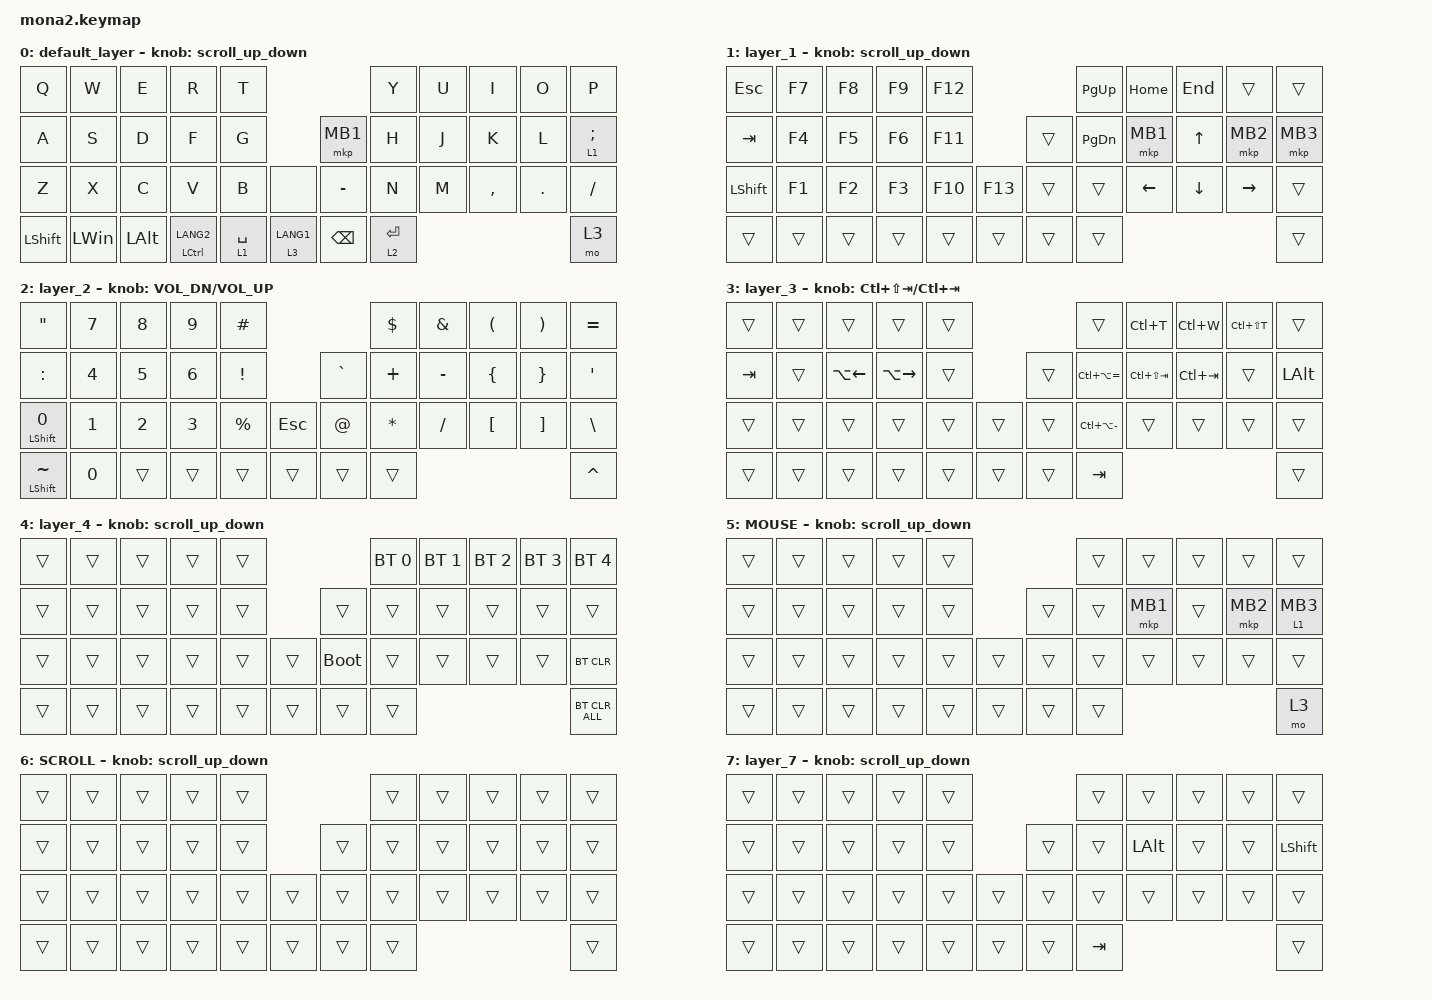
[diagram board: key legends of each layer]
#include <input/processors.dtsi>
#include <dt-bindings/zmk/input_transform.h>
#include <zephyr/dt-bindings/input/input-event-codes.h>
#include <behaviors.dtsi>
#include <dt-bindings/zmk/bt.h>
#include <dt-bindings/zmk/keys.h>
#include <dt-bindings/zmk/pointing.h>

#define ZMK_POINTING_DEFAULT_SCRL_VAL 200
#define MOUSE 5
#define SCROLL 6

&mt {
    flavor = "balanced";
    quick-tap-ms = <0>;
};

&lt {
    quick-tap-ms = <300>;
    flavor = "balanced";
};

&zip_temp_layer {
    require-prior-idle-ms = <200>;
    excluded-positions = <15 17 19 20 41>;
};

/ {
    combos {
        compatible = "zmk,combos";

        layer4_ESC {
            bindings = <&lt 4 ESC>;
            key-positions = <39 38>;
        };

        tab {
            bindings = <&kp TAB>;
            key-positions = <11 12>;
        };

        layer7_hold {
            bindings = <&mo 7>;
            key-positions = <18 19>;
        };
    };

    macros {
        to_layer_0: to_layer_0 {
            compatible = "zmk,behavior-macro-one-param";
            #binding-cells = <1>;
            bindings = <&to 0 &macro_param_1to1 &kp MACRO_PLACEHOLDER>;
            label = "TO_LAYER_0";
        };
    };

    behaviors {
        lt_to_layer_0: lt_to_layer_0 {
            compatible = "zmk,behavior-hold-tap";
            label = "LAYER_TAP_TO_0";
            bindings = <&mo>, <&to_layer_0>;

            #binding-cells = <2>;
            tapping-term-ms = <200>;
        };

        lt_mkp: lt_mkp {
            compatible = "zmk,behavior-hold-tap";
            label = "LAYER_TAP_MKP";
            bindings = <&mo>, <&mkp>;

            #binding-cells = <2>;
            tapping-term-ms = <200>;
            flavor = "balanced";
        };

        scroll_up_down: mouse_wheel_up_down {
            compatible = "zmk,behavior-sensor-rotate";
            #sensor-binding-cells = <0>;
            bindings = <&msc SCRL_DOWN>, <&msc SCRL_UP>;

            // overlay側で &msc の trigger-period-ms を 8ms に上書きしているので、
            // tap-ms=10ms の間に「ちょうど1回だけ」スクロールイベントが発火する。
            // ZMKの内部数式は「移動量 = speed × trigger_period / 1000」(units/tick)で、
            // floor後にHIDイベント発火するので SCRL_VAL × 8 / 1000 ≥ 1 が必要。
            // SCRL_VAL=200 で 1.6 → 1ホイールユニット/tick(= OS設定の3行スクロール相当)
            //   t=0    press
            //   t=8ms  scroll event発火 (move=1.6 → floor=1)
            //   t=10ms release (次のt=16msは来ない)
            // 上流sayu-hubの 100×16/1000=1.6 と同一の効果。linger=10ms、固着は
            // 検出間隔<10msの物理的に不可能な高速回転でしか起きない。
            tap-ms = <10>;
        };

        scroll_right_left: mouse_wheel_right_left {
            compatible = "zmk,behavior-sensor-rotate";
            #sensor-binding-cells = <0>;
            bindings = <&msc SCRL_LEFT>, <&msc SCRL_RIGHT>;

            tap-ms = <10>;
        };

    };

    keymap {
        compatible = "zmk,keymap";

        default_layer {
            bindings = <
&kp Q           &kp W         &kp E         &kp R            &kp T                                                              &kp Y          &kp U      &kp I      &kp O    &kp P
&kp A           &kp S         &kp D         &kp F            &kp G                                     &mkp MB1                  &kp H          &kp J      &kp K      &kp L    &lt 1 SEMICOLON
&kp Z             &kp X       &kp C         &kp V            &kp B          &none                      &kp MINUS                 &kp N          &kp M      &kp COMMA  &kp DOT  &kp SLASH
&kp LEFT_SHIFT  &kp LEFT_WIN  &kp LEFT_ALT  &mt LCTRL LANG2  &lt 1 SPACE    &lt_to_layer_0 3 LANG1     &kp BACKSPACE             &lt 2 ENTER                                   &mo 3
            >;

            sensor-bindings = <&scroll_up_down>;
        };

        layer_1 {
            bindings = <
&kp ESC  &kp F7  &kp F8  &kp F9  &kp F12                                    &kp PG_UP      &kp HOME   &kp END       &trans       &trans
&kp TAB  &kp F4  &kp F5  &kp F6  &kp F11                    &trans          &kp PG_DN      &mkp MB1   &kp UP        &mkp MB2     &mkp MB3
&kp LEFT_SHIFT  &kp F1  &kp F2  &kp F3  &kp F10     &kp F13        &trans          &trans         &kp LEFT   &kp DOWN      &kp RIGHT    &trans
&trans  &trans  &trans  &trans  &trans       &trans         &trans          &trans                                                &trans
            >;

            sensor-bindings = <&scroll_up_down>;
        };

        layer_2 {
            bindings = <
&kp DQT              &kp N7  &kp N8  &kp N9  &kp HASH                                      &kp DOLLAR  &kp AMPS   &kp LPAR   &kp RPAR  &kp EQUAL
&kp COLON            &kp N4  &kp N5  &kp N6  &kp EXCL                  &kp GRAVE            &kp PLUS    &kp MINUS  &kp LBRC   &kp RBRC  &kp SQT
&mt LEFT_SHIFT N0    &kp N1  &kp N2  &kp N3  &kp PRCNT  &kp ESC        &kp AT               &kp ASTRK   &kp SLASH  &kp LBKT   &kp RBKT  &kp BSLH
&mt LEFT_SHIFT TILDE &kp N0  &trans  &trans  &trans      &trans         &trans               &trans                                       &kp CARET
            >;

            sensor-bindings = <&inc_dec_kp C_VOL_DN C_VOL_UP>;
        };

        layer_3 {
            bindings = <
&trans  &trans  &trans          &trans           &trans                                                        &trans              &kp LC(T)        &kp LC(W)       &kp LC(LS(T))  &trans
&kp TAB  &trans  &kp LA(LEFT)    &kp LA(RIGHT)    &trans                          &trans                        &kp LC(LA(EQUAL))   &kp LC(LS(TAB))  &kp LC(TAB)     &trans         &kp LEFT_ALT
&trans  &trans  &trans          &trans           &trans       &trans             &trans                        &kp LC(LA(MINUS))   &trans           &trans          &trans         &trans
&trans  &trans  &trans          &trans           &trans       &trans             &trans                        &kp TAB                                                          &trans
            >;

            sensor-bindings = <&inc_dec_kp LC(LS(TAB)) LC(TAB)>;
        };

        layer_4 {
            bindings = <
&trans  &trans  &trans  &trans  &trans                         &bt BT_SEL 0  &bt BT_SEL 1  &bt BT_SEL 2  &bt BT_SEL 3  &bt BT_SEL 4
&trans  &trans  &trans  &trans  &trans            &trans       &trans        &trans        &trans        &trans        &trans
&trans  &trans  &trans  &trans  &trans  &trans    &bootloader  &trans        &trans        &trans        &trans        &bt BT_CLR
&trans  &trans  &trans  &trans  &trans  &trans    &trans       &trans                                                  &bt BT_CLR_ALL
            >;

            sensor-bindings = <&scroll_up_down>;
        };

        MOUSE {
            bindings = <
&trans  &trans  &trans  &trans  &trans                          &trans  &trans    &trans    &trans      &trans
&trans  &trans  &trans  &trans  &trans              &trans      &trans  &mkp MB1  &trans    &mkp MB2    &lt_mkp 1 MB3
&trans  &trans  &trans  &trans  &trans  &trans      &trans      &trans  &trans    &trans    &trans      &trans
&trans  &trans  &trans  &trans  &trans  &trans      &trans      &trans                                  &mo 3
            >;

            sensor-bindings = <&scroll_up_down>;
        };

        SCROLL {
            bindings = <
&trans  &trans  &trans  &trans  &trans                    &trans  &trans  &trans  &trans  &trans
&trans  &trans  &trans  &trans  &trans            &trans  &trans  &trans  &trans  &trans  &trans
&trans  &trans  &trans  &trans  &trans  &trans    &trans  &trans  &trans  &trans  &trans  &trans
&trans  &trans  &trans  &trans  &trans  &trans    &trans  &trans                          &trans
            >;

            sensor-bindings = <&scroll_up_down>;
        };

        layer_7 {
            bindings = <
&trans  &trans  &trans  &trans  &trans                                    &trans          &trans         &trans         &trans       &trans
&trans  &trans  &trans  &trans  &trans                    &trans          &trans          &kp LEFT_ALT   &trans         &trans       &kp LEFT_SHIFT
&trans  &trans  &trans  &trans  &trans     &trans         &trans          &trans          &trans         &trans         &trans       &trans
&trans  &trans  &trans  &trans  &trans     &trans         &trans          &kp TAB                                                   &trans
            >;

            sensor-bindings = <&scroll_up_down>;
        };
    };
};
